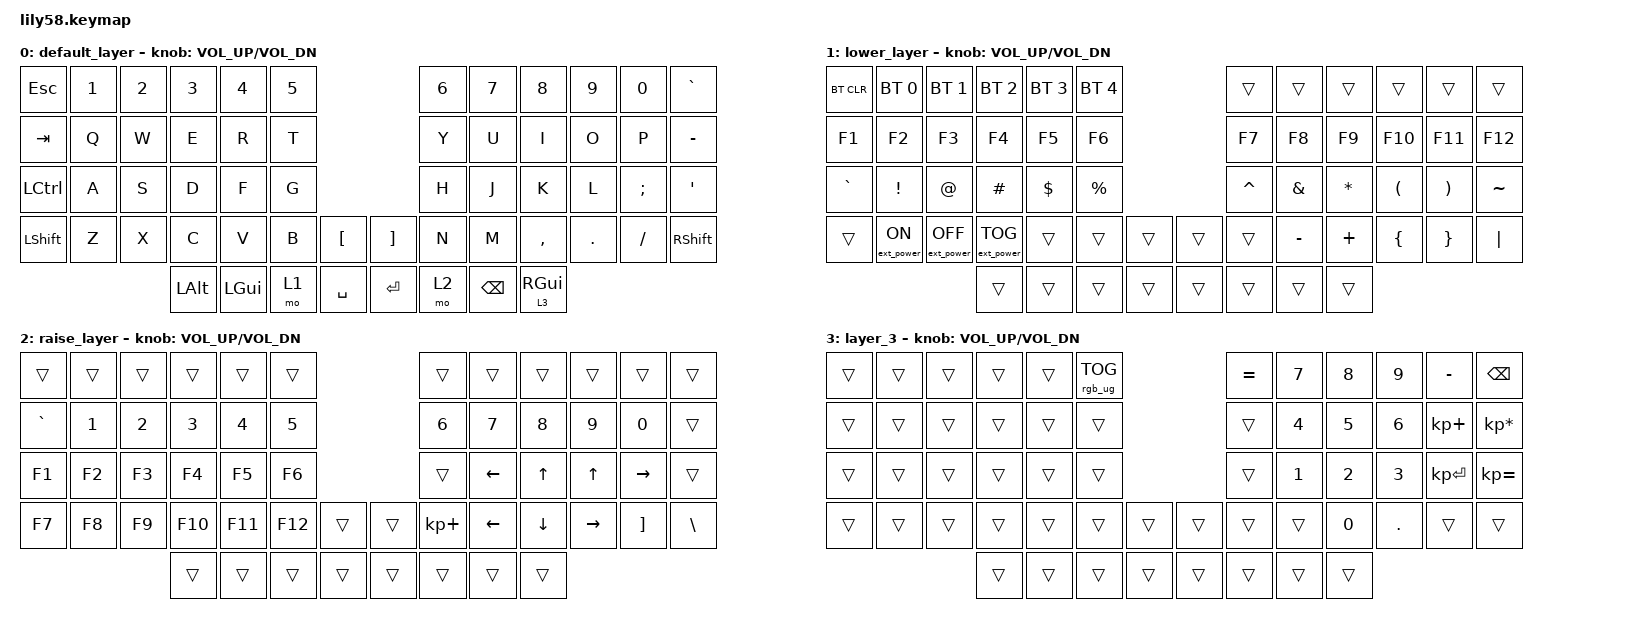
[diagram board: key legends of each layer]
/*
 * Copyright (c) 2020 The ZMK Contributors
 *
 * SPDX-License-Identifier: MIT
 */

#include <behaviors.dtsi>
#include <dt-bindings/zmk/keys.h>
#include <dt-bindings/zmk/bt.h>
#include <dt-bindings/zmk/ext_power.h>
#include <dt-bindings/zmk/rgb.h>
/ {
        // Activate ADJUST layer by pressing raise and lower
    conditional_layers {
        compatible = "zmk,conditional-layers";

        adjust_layer {
            if-layers = <1 2>;
            then-layer = <3>;
        };
    };
    keymap {
        compatible = "zmk,keymap";

        default_layer {
            // ------------------------------------------------------------------------------------------------------------
            // |  ESC  |  1  |  2  |  3   |  4   |  5   |                   |  6   |  7    |  8    |  9   |   0   |   `   |
            // |  TAB  |  Q  |  W  |  E   |  R   |  T   |                   |  Y   |  U    |  I    |  O   |   P   |   -   |
            // |  CTRL |  A  |  S  |  D   |  F   |  G   |                   |  H   |  J    |  K    |  L   |   ;   |   '   |
            // | SHIFT |  Z  |  X  |  C   |  V   |  B   |   "["  |  |  "]"  |  N   |  M    |  ,    |  .   |   /   | SHIFT |
            //                     | ALT  | GUI  | LOWER|  SPACE |  | ENTER | RAISE| BSPC  | GUI   |

            bindings = <
&kp ESC    &kp N1  &kp N2  &kp N3    &kp N4    &kp N5                         &kp N6  &kp N7    &kp N8           &kp N9   &kp N0    &kp GRAVE
&kp TAB    &kp Q   &kp W   &kp E     &kp R     &kp T                          &kp Y   &kp U     &kp I            &kp O    &kp P     &kp MINUS
&kp LCTRL  &kp A   &kp S   &kp D     &kp F     &kp G                          &kp H   &kp J     &kp K            &kp L    &kp SEMI  &kp SQT
&kp LSHFT  &kp Z   &kp X   &kp C     &kp V     &kp B   &kp LBKT     &kp RBKT  &kp N   &kp M     &kp COMMA        &kp DOT  &kp FSLH  &kp RSHFT
                           &kp LALT  &kp LGUI  &mo 1   &kp SPACE    &kp RET   &mo 2   &kp BSPC  &lt 3 RIGHT_GUI
            >;

            sensor-bindings = <&inc_dec_kp C_VOL_UP C_VOL_DN>;
        };

        lower_layer {
            // ------------------------------------------------------------------------------------------------------------
            // | BTCLR | BT1 | BT2 |  BT3 |  BT4 |  BT5 |                   |      |       |       |      |       |       |
            // |  F1   |  F2 |  F3 |  F4  |  F5  |  F6  |                   |  F7  |  F8   |  F9   |  F10 |  F11  |  F12  |
            // |   `   |  !  |  @  |  #   |  $   |  %   |                   |  ^   |  &    |  *    |  (   |   )   |   ~   |
            // |       |     |     |      |      |      |        |  |       |      |  _    |  +    |  {   |   }   |  "|"  |
            //                     |      |      |      |        |  |       |      |       |       |

            bindings = <
&bt BT_CLR  &bt BT_SEL 0      &bt BT_SEL 1       &bt BT_SEL 2       &bt BT_SEL 3  &bt BT_SEL 4                    &trans     &trans     &trans     &trans    &trans    &trans
&kp F1      &kp F2            &kp F3             &kp F4             &kp F5        &kp F6                          &kp F7     &kp F8     &kp F9     &kp F10   &kp F11   &kp F12
&kp GRAVE   &kp EXCL          &kp AT             &kp HASH           &kp DOLLAR    &kp PRCNT                       &kp CARET  &kp AMPS   &kp ASTRK  &kp LPAR  &kp RPAR  &kp TILDE
&trans      &ext_power EP_ON  &ext_power EP_OFF  &ext_power EP_TOG  &trans        &trans        &trans    &trans  &trans     &kp MINUS  &kp PLUS   &kp LBRC  &kp RBRC  &kp PIPE
                                                 &trans             &trans        &trans        &trans    &trans  &trans     &trans     &trans
            >;

            sensor-bindings = <&inc_dec_kp C_VOL_UP C_VOL_DN>;
        };

        raise_layer {
            // ------------------------------------------------------------------------------------------------------------
            // |       |     |     |      |      |      |                   |      |       |       |      |       |       |
            // |   `   |  1  |  2  |  3   |  4   |  5   |                   |  6   |   7   |   8   |  9   |   0   |       |
            // |   F1  |  F2 |  F3 |  F4  |  F5  |  F6  |                   |      |   <-  |   v   |  ^   |  ->   |       |
            // |   F7  |  F8 |  F9 |  F10 |  F11 |  F12 |        |  |       |  +   |   -   |   =   |  [   |   ]   |   \   |
            //                     |      |      |      |        |  |       |      |       |       |

            bindings = <
&trans     &trans  &trans  &trans   &trans   &trans                     &trans       &trans          &trans        &trans     &trans     &trans
&kp GRAVE  &kp N1  &kp N2  &kp N3   &kp N4   &kp N5                     &kp N6       &kp N7          &kp N8        &kp N9     &kp N0     &trans
&kp F1     &kp F2  &kp F3  &kp F4   &kp F5   &kp F6                     &trans       &kp LEFT        &kp UP_ARROW  &kp UP     &kp RIGHT  &trans
&kp F7     &kp F8  &kp F9  &kp F10  &kp F11  &kp F12  &trans    &trans  &kp KP_PLUS  &kp LEFT_ARROW  &kp DOWN      &kp RIGHT  &kp RBKT   &kp BSLH
                           &trans   &trans   &trans   &trans    &trans  &trans       &trans          &trans
            >;

            sensor-bindings = <&inc_dec_kp C_VOL_UP C_VOL_DN>;
        };

        layer_3 {
            bindings = <
&trans  &trans  &trans  &trans  &trans  &rgb_ug RGB_TOG                    &kp EQUAL  &kp N7  &kp N8  &kp N9   &kp MINUS     &kp BSPC
&trans  &trans  &trans  &trans  &trans  &trans                             &trans     &kp N4  &kp N5  &kp N6   &kp KP_PLUS   &kp KP_MULTIPLY
&trans  &trans  &trans  &trans  &trans  &trans                             &trans     &kp N1  &kp N2  &kp N3   &kp KP_ENTER  &kp KP_EQUAL
&trans  &trans  &trans  &trans  &trans  &trans           &trans    &trans  &trans     &trans  &kp N0  &kp DOT  &trans        &trans
                        &trans  &trans  &trans           &trans    &trans  &trans     &trans  &trans
            >;
            sensor-bindings = <&inc_dec_kp C_VOL_UP C_VOL_DN>;
        };
         extra1 { status = "reserved"; };

        extra2 { status = "reserved"; };

        extra3 { status = "reserved"; };

        extra4 { status = "reserved"; };

        extra5 { status = "reserved"; };
    };
};
